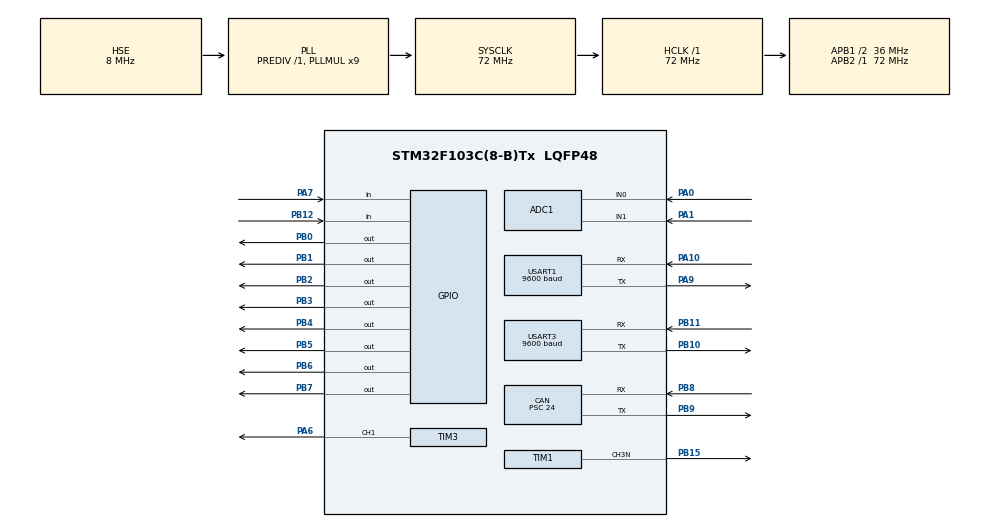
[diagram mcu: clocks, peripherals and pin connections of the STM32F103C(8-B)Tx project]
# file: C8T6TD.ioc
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ADC1.Channel-0\#ChannelRegularConversion=ADC_CHANNEL_0
ADC1.Channel-1\#ChannelRegularConversion=ADC_CHANNEL_1
ADC1.ContinuousConvMode=ENABLE
ADC1.NbrOfConversion=2
ADC1.NbrOfConversionFlag=1
ADC1.Rank-0\#ChannelRegularConversion=1
ADC1.Rank-1\#ChannelRegularConversion=2
ADC1.SamplingTime-0\#ChannelRegularConversion=ADC_SAMPLETIME_55CYCLES_5
ADC1.SamplingTime-1\#ChannelRegularConversion=ADC_SAMPLETIME_55CYCLES_5
ADC1.master=1
CAN.BS1=CAN_BS1_3TQ
CAN.BS2=CAN_BS2_2TQ
CAN.CalculateBaudRate=249999
CAN.CalculateTimeBit=4000
CAN.CalculateTimeQuantum=666.6666666666667
CAN.Prescaler=24
Dma.ADC1.0.Direction=DMA_PERIPH_TO_MEMORY
Dma.ADC1.0.Instance=DMA1_Channel1
Dma.ADC1.0.MemDataAlignment=DMA_MDATAALIGN_WORD
Dma.ADC1.0.MemInc=DMA_MINC_ENABLE
Dma.ADC1.0.Mode=DMA_CIRCULAR
Dma.ADC1.0.PeriphDataAlignment=DMA_PDATAALIGN_WORD
Dma.ADC1.0.PeriphInc=DMA_PINC_DISABLE
Dma.ADC1.0.Priority=DMA_PRIORITY_LOW
Dma.Request0=ADC1
Mcu.Family=STM32F1
Mcu.Name=STM32F103C(8-B)Tx
Mcu.Package=LQFP48
NVIC.ADC1_2_IRQn=true\:2\:0\:true\:false\:true\:true\:true\:true
NVIC.DMA1_Channel1_IRQn=true\:0\:0\:false\:false\:true\:false\:true\:true
NVIC.PriorityGroup=NVIC_PRIORITYGROUP_4
NVIC.USART1_IRQn=true\:1\:0\:true\:false\:true\:true\:true\:true
PA0-WKUP.Signal=ADCx_IN0
PA1.Signal=ADCx_IN1
PA10.Mode=Asynchronous
PA10.Signal=USART1_RX
PA13.Mode=Serial_Wire
PA13.Signal=SYS_JTMS-SWDIO
PA14.Mode=Serial_Wire
PA14.Signal=SYS_JTCK-SWCLK
PA6.Signal=S_TIM3_CH1
PA7.GPIO_PuPd=GPIO_PULLDOWN
PA7.Signal=GPIO_Input
PA9.Mode=Asynchronous
PA9.Signal=USART1_TX
PB0.PinState=GPIO_PIN_SET
PB0.Signal=GPIO_Output
PB1.GPIO_PuPd=GPIO_NOPULL
PB1.PinState=GPIO_PIN_SET
PB1.Signal=GPIO_Output
PB10.Mode=Asynchronous
PB10.Signal=USART3_TX
PB11.Mode=Asynchronous
PB11.Signal=USART3_RX
PB12.Signal=GPIO_Input
PB15.Mode=PWM Generation3 CH3N
PB15.Signal=TIM1_CH3N
PB2.GPIO_PuPd=GPIO_PULLUP
PB2.PinState=GPIO_PIN_SET
PB2.Signal=GPIO_Output
PB3.GPIO_PuPd=GPIO_PULLUP
PB3.PinState=GPIO_PIN_SET
PB3.Signal=GPIO_Output
PB4.GPIO_PuPd=GPIO_PULLUP
PB4.PinState=GPIO_PIN_SET
PB4.Signal=GPIO_Output
PB5.PinState=GPIO_PIN_SET
PB5.Signal=GPIO_Output
PB6.PinState=GPIO_PIN_SET
PB6.Signal=GPIO_Output
PB7.PinState=GPIO_PIN_SET
PB7.Signal=GPIO_Output
PB8.Mode=CAN_Activate
PB8.Signal=CAN_RX
PB9.Mode=CAN_Activate
PB9.Signal=CAN_TX
PC14-OSC32_IN.Mode=LSE-External-Oscillator
PC14-OSC32_IN.Signal=RCC_OSC32_IN
PC15-OSC32_OUT.Mode=LSE-External-Oscillator
PC15-OSC32_OUT.Signal=RCC_OSC32_OUT
PD0-OSC_IN.Mode=HSE-External-Oscillator
PD0-OSC_IN.Signal=RCC_OSC_IN
PD1-OSC_OUT.Mode=HSE-External-Oscillator
PD1-OSC_OUT.Signal=RCC_OSC_OUT
ProjectManager.HeapSize=0x200
ProjectManager.StackSize=0x400
ProjectManager.TargetToolchain=MDK-ARM V5.27
RCC.ADCPresc=RCC_ADCPCLK2_DIV6
RCC.AHBFreq_Value=72000000
RCC.APB1CLKDivider=RCC_HCLK_DIV2
RCC.APB1Freq_Value=36000000
RCC.APB1TimFreq_Value=72000000
RCC.APB2Freq_Value=72000000
RCC.APB2TimFreq_Value=72000000
RCC.HCLKFreq_Value=72000000
RCC.PLLMUL=RCC_PLL_MUL9
RCC.PLLSourceVirtual=RCC_PLLSOURCE_HSE
RCC.PREFETCH_ENABLE=0
RCC.SYSCLKFreq_VALUE=72000000
RCC.SYSCLKSource=RCC_SYSCLKSOURCE_PLLCLK
RCC.USBFreq_Value=72000000
SH.ADCx_IN0.0=ADC1_IN0,IN0
SH.ADCx_IN1.0=ADC1_IN1,IN1
SH.S_TIM3_CH1.0=TIM3_CH1,PWM Generation1 CH1
TIM1.Channel-PWM\ Generation3\ CH3N=TIM_CHANNEL_3
TIM1.Period=60000
TIM1.Prescaler=1199
TIM1.Pulse-PWM\ Generation3\ CH3N=30000
TIM3.Channel-PWM\ Generation1\ CH1=TIM_CHANNEL_1
TIM3.Period=60000
TIM3.Prescaler=1199
TIM3.Pulse-PWM\ Generation1\ CH1=3000
USART1.BaudRate=9600
USART1.VirtualMode=VM_ASYNC
USART3.BaudRate=9600
USART3.VirtualMode=VM_ASYNC
board=custom

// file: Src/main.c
/* USER CODE BEGIN Header */
/**山东拓达智控仪表检测台
  ******************************************************************************
  * @file           : main.c
  * @brief          : Main program body
  ******************************************************************************
  * @attention
  * 山东拓达智控科技有限公司 sdtode@163.com 翟学伟15306366600
  * 蘑菇房，鸡蛋车,人物币 华中堂13855361411
  * 模拟量输入PA0,电位器给定转速，PA1,点火\前进\后退。
  * 定时器TIM1/3N,CHANNEL3/1,转速\车速PB15,PA6。
  * PA9,PA10为串口1，与触摸屏通讯。
	* PB10,PB11为串口3，RS485。PB0,PB1为485的收发控制脚。
	* PB12为相机的输入脚，相机给出OK/NG
	* C6T6长条板PA15,PB3-9为输出开关,C86量带RS485的PB0-7为输出开关量。
  ******************************************************************************
  */
/* USER CODE END Header */
#include "main.h"
#include "adc.h"
#include "can.h"
#include "dma.h"
#include "tim.h"
#include "usart.h"
#include "gpio.h"

/* USER CODE BEGIN Includes */
#include "cmd_process.h" //串口触摸屏扫描，支持Scan_TFT()
#include "OPERATE.h"    //用户操作，步进，耐久，支持Test()
#include "RS485.h"      //程控开关量，数字电阻，支持DR()
#include "Vehicle.h"    //支持燃油显示一半
/* USER CODE END Includes */

/* USER CODE BEGIN PV */
uint32_t AD_Buf[2];//模拟量DMA采集的缓存
uint8_t status=0;//触摸屏、电位器、步进、耐久选择0,1,2,3
extern uint16_t Step;//步进检测步骤
uint8_t current_Step=0;//当前步骤
extern uint8_t current_AD;  //当前模拟量AD级数
extern CanMsgTypeDef CANmsg[];
extern uint16_t current_screen_id;//当前屏幕ID
extern uint16_t current_control_id;//当前控件ID
/* USER CODE END PV */

void SystemClock_Config(void);

int main(void)
{

  /* MCU Configuration--------------------------------------------------------*/

  /* Reset of all peripherals, Initializes the Flash interface and the Systick. */
  HAL_Init();

  /* Configure the system clock */
  SystemClock_Config();

  /* Initialize all configured peripherals */
  MX_GPIO_Init();
  MX_DMA_Init();
  MX_CAN_Init();
  MX_ADC1_Init();
  MX_TIM1_Init();
  MX_USART1_UART_Init();
  MX_USART3_UART_Init();
  MX_TIM3_Init();
  /* USER CODE BEGIN 2 */
  HAL_CAN_Start(&hcan);//CAN启动
  HAL_ADCEx_Calibration_Start(&hadc1);
	HAL_ADC_Start_DMA(&hadc1,(uint32_t*)&AD_Buf,2);
	PWM_Init();RPM(1500);SPD(120);
	Fuel(5);
  /* USER CODE END 2 */

  /* Infinite loop */
  /* USER CODE BEGIN WHILE */
	while (1)
  {
   if(HAL_GetTick()%100<50)Scan_TFT();//触摸屏指令解析
	 if(HAL_GetTick()%100==50)Scan_AD();//电位器扫描
	 if(status==1)Step++;
	 if(Step != current_Step){Test(current_screen_id,Step);current_Step=Step;}
	  /* USER CODE END WHILE */

    /* USER CODE BEGIN 3 */
	 if(status==2)Study();
	 CAN_Tx_Msg(CANmsg[current_control_id]);
  }
  /* USER CODE END 3 */
}

void SystemClock_Config(void)
{
  RCC_OscInitTypeDef RCC_OscInitStruct = {0};
  RCC_ClkInitTypeDef RCC_ClkInitStruct = {0};
  RCC_PeriphCLKInitTypeDef PeriphClkInit = {0};

  /** Initializes the RCC Oscillators according to the specified parameters
  * in the RCC_OscInitTypeDef structure.
  */
  RCC_OscInitStruct.OscillatorType = RCC_OSCILLATORTYPE_HSE;
  RCC_OscInitStruct.HSEState = RCC_HSE_ON;
  RCC_OscInitStruct.HSEPredivValue = RCC_HSE_PREDIV_DIV1;
  RCC_OscInitStruct.HSIState = RCC_HSI_ON;
  RCC_OscInitStruct.PLL.PLLState = RCC_PLL_ON;
  RCC_OscInitStruct.PLL.PLLSource = RCC_PLLSOURCE_HSE;
  RCC_OscInitStruct.PLL.PLLMUL = RCC_PLL_MUL9;
  if (HAL_RCC_OscConfig(&RCC_OscInitStruct) != HAL_OK)
  {
    Error_Handler();
  }

  /** Initializes the CPU, AHB and APB buses clocks
  */
  RCC_ClkInitStruct.ClockType = RCC_CLOCKTYPE_HCLK|RCC_CLOCKTYPE_SYSCLK
                              |RCC_CLOCKTYPE_PCLK1|RCC_CLOCKTYPE_PCLK2;
  RCC_ClkInitStruct.SYSCLKSource = RCC_SYSCLKSOURCE_PLLCLK;
  RCC_ClkInitStruct.AHBCLKDivider = RCC_SYSCLK_DIV1;
  RCC_ClkInitStruct.APB1CLKDivider = RCC_HCLK_DIV2;
  RCC_ClkInitStruct.APB2CLKDivider = RCC_HCLK_DIV1;

  if (HAL_RCC_ClockConfig(&RCC_ClkInitStruct, FLASH_LATENCY_2) != HAL_OK)
  {
    Error_Handler();
  }
  PeriphClkInit.PeriphClockSelection = RCC_PERIPHCLK_ADC;
  PeriphClkInit.AdcClockSelection = RCC_ADCPCLK2_DIV6;
  if (HAL_RCCEx_PeriphCLKConfig(&PeriphClkInit) != HAL_OK)
  {
    Error_Handler();
  }
}

void Error_Handler(void)
{
  __disable_irq();
  while (1)
  {
  }
}
